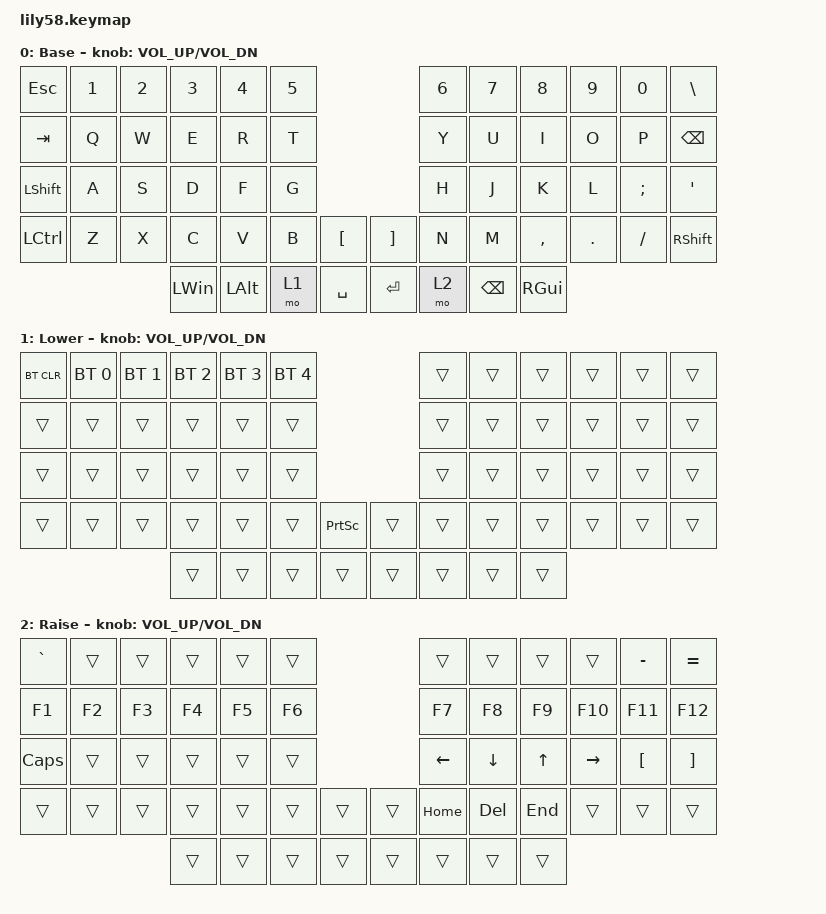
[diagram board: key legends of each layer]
/*
 * Copyright (c) 2020 The ZMK Contributors
 *
 * SPDX-License-Identifier: MIT
 */

#include <behaviors.dtsi>
#include <dt-bindings/zmk/bt.h>
#include <dt-bindings/zmk/keys.h>

/ {
    keymap {
        compatible = "zmk,keymap";

        default_layer {
            // ------------------------------------------------------------------------------------------------------------
            // |  ESC  |  1  |  2  |  3   |  4   |  5   |                   |  6   |  7    |  8    |  9   |   0   |   `   |
            // |  TAB  |  Q  |  W  |  E   |  R   |  T   |                   |  Y   |  U    |  I    |  O   |   P   |   -   |
            // |  CTRL |  A  |  S  |  D   |  F   |  G   |                   |  H   |  J    |  K    |  L   |   ;   |   '   |
            // | SHIFT |  Z  |  X  |  C   |  V   |  B   |   "["  |  |  "]"  |  N   |  M    |  ,    |  .   |   /   | SHIFT |
            //                     | ALT  | GUI  | LOWER|  SPACE |  | ENTER | RAISE| BSPC  | GUI   |

            display-name = "Base";
            bindings = <
&kp ESC           &kp N1  &kp N2  &kp N3        &kp N4        &kp N5                         &kp N6  &kp N7    &kp N8     &kp N9   &kp N0    &kp BACKSLASH
&kp TAB           &kp Q   &kp W   &kp E         &kp R         &kp T                          &kp Y   &kp U     &kp I      &kp O    &kp P     &kp BACKSPACE
&kp LEFT_SHIFT    &kp A   &kp S   &kp D         &kp F         &kp G                          &kp H   &kp J     &kp K      &kp L    &kp SEMI  &kp SQT
&kp LEFT_CONTROL  &kp Z   &kp X   &kp C         &kp V         &kp B   &kp LBKT     &kp RBKT  &kp N   &kp M     &kp COMMA  &kp DOT  &kp FSLH  &kp RSHFT
                                  &kp LEFT_WIN  &kp LEFT_ALT  &mo 1   &kp SPACE    &kp RET   &mo 2   &kp BSPC  &kp RGUI
            >;

            sensor-bindings = <&inc_dec_kp C_VOL_UP C_VOL_DN>;
        };

        lower_layer {
            // ------------------------------------------------------------------------------------------------------------
            // |       |     |     |      |      |      |                   |      |       |       |      |       |       |
            // |   `   |  1  |  2  |  3   |  4   |  5   |                   |  6   |   7   |   8   |  9   |   0   |       |
            // |   F1  |  F2 |  F3 |  F4  |  F5  |  F6  |                   |      |   <-  |   v   |  ^   |  ->   |       |
            // |   F7  |  F8 |  F9 |  F10 |  F11 |  F12 |        |  |       |  +   |   -   |   =   |  [   |   ]   |   \   |
            //                     |      |      |      |        |  |       |      |       |       |

            display-name = "Lower";
            bindings = <
&bt BT_CLR  &bt BT_SEL 0  &bt BT_SEL 1  &bt BT_SEL 2  &bt BT_SEL 3  &bt BT_SEL 4                             &trans  &trans  &trans  &trans  &trans  &trans
&trans      &trans        &trans        &trans        &trans        &trans                                   &trans  &trans  &trans  &trans  &trans  &trans
&trans      &trans        &trans        &trans        &trans        &trans                                   &trans  &trans  &trans  &trans  &trans  &trans
&trans      &trans        &trans        &trans        &trans        &trans        &kp PRINTSCREEN    &trans  &trans  &trans  &trans  &trans  &trans  &trans
                                        &trans        &trans        &trans        &trans             &trans  &trans  &trans  &trans
            >;

            sensor-bindings = <&inc_dec_kp C_VOL_UP C_VOL_DN>;
        };

        raise_layer {
            // ------------------------------------------------------------------------------------------------------------
            // | BTCLR | BT1 | BT2 |  BT3 |  BT4 |  BT5 |                   |      |       |       |      |       |       |
            // |  F1   |  F2 |  F3 |  F4  |  F5  |  F6  |                   |  F7  |  F8   |  F9   |  F10 |  F11  |  F12  |
            // |   `   |  !  |  @  |  #   |  $   |  %   |                   |  ^   |  &    |  *    |  (   |   )   |   ~   |
            // |       |     |     |      |      |      |        |  |       |      |  _    |  +    |  {   |   }   |  "|"  |
            //                     |      |      |      |        |  |       |      |       |       |

            display-name = "Raise";
            bindings = <
&kp GRAVE     &trans  &trans  &trans  &trans  &trans                    &trans    &trans      &trans   &trans     &kp MINUS         &kp EQUAL
&kp F1        &kp F2  &kp F3  &kp F4  &kp F5  &kp F6                    &kp F7    &kp F8      &kp F9   &kp F10    &kp F11           &kp F12
&kp CAPSLOCK  &trans  &trans  &trans  &trans  &trans                    &kp LEFT  &kp DOWN    &kp UP   &kp RIGHT  &kp LEFT_BRACKET  &kp RIGHT_BRACKET
&trans        &trans  &trans  &trans  &trans  &trans  &trans    &trans  &kp HOME  &kp DELETE  &kp END  &trans     &trans            &trans
                              &trans  &trans  &trans  &trans    &trans  &trans    &trans      &trans
            >;

            sensor-bindings = <&inc_dec_kp C_VOL_UP C_VOL_DN>;
        };
    };
};
